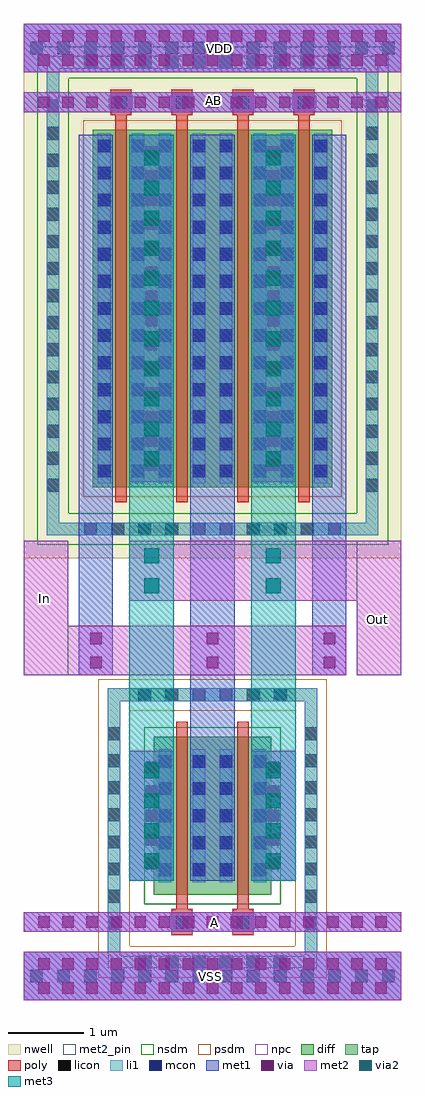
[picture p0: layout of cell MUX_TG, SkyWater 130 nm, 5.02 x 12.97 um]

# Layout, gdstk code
import gdstk
lib = gdstk.Library(unit=1e-6, precision=1e-09)
def R(c, l, rs):  # rectangles x0, y0, x1, y1
    for r in rs: c.add(gdstk.rectangle(r[:2], r[2:], *l))
def A(c, l, x, y, w, h, nx, ny, dx, dy):  # array of equal rectangles
    R(c, l, [(x+i*dx, y+j*dy, x+i*dx+w, y+j*dy+h) for i in range(nx) for j in range(ny)])
nwell = (64, 20)
diff = (65, 20)
tap = (65, 44)
poly = (66, 20)
licon = (66, 44)
li1 = (67, 20)
mcon = (67, 44)
met1 = (68, 20)
via = (68, 44)
met2_pin = (69, 16)
met2 = (69, 20)
via2 = (69, 44)
met3 = (70, 20)
nsdm = (93, 44)
psdm = (94, 20)
npc = (95, 20)

mux_tg = lib.new_cell('MUX_TG')
A(mux_tg, nwell, 5.04, 1.3, 1.36, 5.85, 4, 1, 0.81, 0)
R(mux_tg, nwell, [(4.425,0.735,8.965,7.715), (8.965,0.735,9.445,7.715)])
A(mux_tg, diff, 5.345, 1.68, 0.75, 4.75, 4, 1, 0.81, 0)
A(mux_tg, diff, 6.095, 1.68, 0.155, 4.75, 3, 1, 0.81, 0)
R(mux_tg, diff, [(6.155,-3.735,6.905,-1.635), (6.905,-3.735,6.965,-1.635), (6.965,-3.735,7.715,-1.635)])
R(mux_tg, tap, [(5.54,-4.715,5.71,-0.995), (5.71,-4.715,8.16,-4.545), (8.16,-4.715,8.33,-0.995), (5.71,-1.165,8.16,-0.995), (4.73,1.04,8.97,1.21), (4.73,1.04,4.9,7.24), (4.9,1.04,8.49,1.21), (8.97,1.04,9.14,7.24), (4.73,7.24,9.14,7.41)])
A(mux_tg, poly, 5.645, 1.48, 0.15, 5.15, 4, 1, 0.81, 0)
A(mux_tg, poly, 5.585, 6.63, 0.27, 0.33, 4, 1, 0.81, 0)
R(mux_tg, poly, [(6.395,-4.265,6.665,-3.935), (7.205,-4.265,7.475,-3.935), (6.455,-3.935,6.605,-1.435), (7.265,-3.935,7.415,-1.435)])
A(mux_tg, licon, 5.95, -4.715, 0.17, 0.17, 6, 2, 0.36, 3.55)
A(mux_tg, licon, 5.54, -4.2, 0.17, 0.17, 1, 8, 0, 0.36)
A(mux_tg, licon, 8.16, -4.2, 0.17, 0.17, 1, 8, 0, 0.36)
A(mux_tg, licon, 6.22, -3.49, 0.17, 0.17, 1, 5, 0, 0.36)
A(mux_tg, licon, 6.67, -3.49, 0.17, 0.17, 1, 5, 0, 0.36)
A(mux_tg, licon, 7.03, -3.49, 0.17, 0.17, 1, 5, 0, 0.36)
A(mux_tg, licon, 7.48, -3.49, 0.17, 0.17, 1, 5, 0, 0.36)
A(mux_tg, licon, 5.23, 1.04, 0.17, 0.17, 10, 2, 0.36, 6.2)
A(mux_tg, licon, 4.73, 1.62, 0.17, 0.17, 1, 15, 0, 0.36)
A(mux_tg, licon, 8.97, 1.62, 0.17, 0.17, 1, 15, 0, 0.36)
A(mux_tg, licon, 5.41, 1.81, 0.17, 0.17, 1, 13, 0, 0.36)
A(mux_tg, licon, 5.86, 1.81, 0.17, 0.17, 1, 13, 0, 0.36)
A(mux_tg, licon, 6.22, 1.81, 0.17, 0.17, 1, 13, 0, 0.36)
A(mux_tg, licon, 6.67, 1.81, 0.17, 0.17, 1, 13, 0, 0.36)
A(mux_tg, licon, 7.03, 1.81, 0.17, 0.17, 1, 13, 0, 0.36)
A(mux_tg, licon, 7.48, 1.81, 0.17, 0.17, 1, 13, 0, 0.36)
A(mux_tg, licon, 7.84, 1.81, 0.17, 0.17, 1, 13, 0, 0.36)
A(mux_tg, licon, 8.29, 1.81, 0.17, 0.17, 1, 13, 0, 0.36)
A(mux_tg, licon, 5.635, 6.71, 0.17, 0.17, 4, 1, 0.81, 0)
R(mux_tg, licon, [(6.445,-4.185,6.615,-4.015), (7.255,-4.185,7.425,-4.015)])
A(mux_tg, li1, 5.555, 6.71, 0.33, 0.17, 4, 1, 0.81, 0)
R(mux_tg, li1, [(4.425,-5.135,9.445,-4.495), (5.54,-4.715,5.71,-0.995), (5.71,-4.715,8.16,-4.545), (8.16,-4.715,8.33,-0.995), (6.365,-4.185,6.695,-4.015), (7.175,-4.185,7.505,-4.015), (6.22,-3.57,6.39,-1.8), (6.67,-3.57,6.84,-1.8), (7.03,-3.57,7.2,-1.8), (7.48,-3.57,7.65,-1.8), (5.71,-1.165,8.16,-0.995), (4.73,1.04,8.97,1.21), (4.73,1.04,4.9,7.24), (8.97,1.04,9.14,7.24), (5.41,1.73,5.58,6.38), (5.86,1.73,6.03,6.38), (6.22,1.73,6.39,6.38), (6.67,1.73,6.84,6.38), (7.03,1.73,7.2,6.38), (7.48,1.73,7.65,6.38), (7.84,1.73,8.01,6.38), (8.29,1.73,8.46,6.38), (4.425,7.195,9.445,7.835), (4.73,7.24,9.14,7.41)])
A(mux_tg, mcon, 4.51, -4.9, 0.17, 0.17, 14, 2, 0.36, 12.33)
A(mux_tg, mcon, 6.22, -3.49, 0.17, 0.17, 1, 5, 0, 0.36)
A(mux_tg, mcon, 6.67, -3.49, 0.17, 0.17, 1, 5, 0, 0.36)
A(mux_tg, mcon, 7.03, -3.49, 0.17, 0.17, 1, 5, 0, 0.36)
A(mux_tg, mcon, 7.48, -3.49, 0.17, 0.17, 1, 5, 0, 0.36)
A(mux_tg, mcon, 5.41, 1.81, 0.17, 0.17, 1, 13, 0, 0.36)
A(mux_tg, mcon, 5.86, 1.81, 0.17, 0.17, 1, 13, 0, 0.36)
A(mux_tg, mcon, 6.22, 1.81, 0.17, 0.17, 1, 13, 0, 0.36)
A(mux_tg, mcon, 6.67, 1.81, 0.17, 0.17, 1, 13, 0, 0.36)
A(mux_tg, mcon, 7.03, 1.81, 0.17, 0.17, 1, 13, 0, 0.36)
A(mux_tg, mcon, 7.48, 1.81, 0.17, 0.17, 1, 13, 0, 0.36)
A(mux_tg, mcon, 7.84, 1.81, 0.17, 0.17, 1, 13, 0, 0.36)
A(mux_tg, mcon, 8.29, 1.81, 0.17, 0.17, 1, 13, 0, 0.36)
A(mux_tg, mcon, 5.635, 6.71, 0.17, 0.17, 4, 1, 0.81, 0)
R(mux_tg, mcon, [(6.445,-4.185,6.615,-4.015), (7.255,-4.185,7.425,-4.015)])
A(mux_tg, met1, 6.06, 1.75, 0.13, 4.61, 3, 1, 0.81, 0)
A(mux_tg, met1, 5.535, 6.68, 0.37, 0.23, 4, 1, 0.81, 0)
R(mux_tg, met1, [(4.425,-5.135,9.445,-4.495), (4.425,-4.23,9.445,-3.97), (6.345,-4.215,6.715,-3.985), (7.155,-4.215,7.525,-3.985), (5.83,-3.55,6.42,-1.82), (6.19,-3.55,6.42,-1.82), (6.64,-3.55,6.87,-1.82), (6.87,-3.55,7,-1.82), (7,-3.55,7.23,-1.82), (7.45,-3.55,7.68,-1.82), (7.45,-3.55,8.04,-1.82), (6.64,-1.82,7.23,-0.16), (5.155,-0.82,5.61,-0.16), (6.64,-0.82,7.23,-0.16), (8.26,-0.82,8.715,-0.16), (8.26,-0.82,8.715,1.75), (5.155,-0.16,5.61,1.75), (6.64,-0.16,7.23,1.75), (5.155,1.75,5.61,6.36), (5.38,1.75,5.61,6.36), (5.83,1.75,6.42,6.36), (5.83,1.75,6.06,6.36), (6.19,1.75,6.42,6.36), (6.64,1.75,6.87,6.36), (7,1.75,7.23,6.36), (7.45,1.75,8.04,6.36), (7.45,1.75,7.68,6.36), (7.81,1.75,8.04,6.36), (8.26,1.75,8.49,6.36), (8.26,1.75,8.715,6.36), (4.425,6.665,9.445,6.925), (4.425,7.195,9.445,7.835)])
A(mux_tg, via, 4.62, -5.05, 0.15, 0.15, 15, 2, 0.32, 0.32)
A(mux_tg, via, 4.62, -4.175, 0.15, 0.15, 15, 2, 0.32, 10.895)
A(mux_tg, via, 6.05, -3.4, 0.15, 0.15, 1, 5, 0, 0.32)
A(mux_tg, via, 7.67, -3.4, 0.15, 0.15, 1, 5, 0, 0.32)
A(mux_tg, via, 6.05, 1.9, 0.15, 0.15, 1, 14, 0, 0.32)
A(mux_tg, via, 7.67, 1.9, 0.15, 0.15, 1, 14, 0, 0.32)
A(mux_tg, via, 4.62, 7.28, 0.15, 0.15, 15, 2, 0.32, 0.32)
R(mux_tg, via, [(5.31,-0.725,5.46,-0.575), (6.86,-0.725,7.01,-0.575), (8.415,-0.725,8.565,-0.575), (5.31,-0.405,5.46,-0.255), (6.86,-0.405,7.01,-0.255), (8.415,-0.405,8.565,-0.255)])
R(mux_tg, met2_pin, [(4.425,-5.135,9.445,-4.495), (4.425,-4.23,9.445,-3.97), (4.425,-0.82,5.015,0.97), (8.855,-0.82,9.445,0.97), (4.425,6.665,9.445,6.925), (4.425,7.195,9.445,7.835)])
R(mux_tg, met2, [(4.425,-5.135,9.445,-4.495), (4.425,-5.135,9.445,-4.495), (4.425,-4.23,9.445,-3.97), (5.83,-3.55,6.42,-1.82), (7.45,-3.55,8.04,-1.82), (4.425,-0.82,8.26,-0.16), (5.155,-0.82,5.61,-0.16), (6.64,-0.82,7.23,-0.16), (8.26,-0.82,8.715,-0.16), (8.855,-0.82,9.445,0.17), (4.425,-0.16,5.015,0.97), (5.83,0.17,6.42,0.97), (5.83,0.17,9.445,0.97), (7.45,0.17,8.04,0.97), (5.83,1.75,6.42,6.36), (7.45,1.75,8.04,6.36), (4.425,6.665,9.445,6.925), (4.425,7.195,9.445,7.835), (4.425,7.195,9.445,7.835)])
A(mux_tg, via2, 6.025, -3.385, 0.2, 0.2, 1, 4, 0, 0.4)
A(mux_tg, via2, 7.645, -3.385, 0.2, 0.2, 1, 4, 0, 0.4)
A(mux_tg, via2, 6.025, 1.955, 0.2, 0.2, 1, 11, 0, 0.4)
A(mux_tg, via2, 7.645, 1.955, 0.2, 0.2, 1, 11, 0, 0.4)
R(mux_tg, via2, [(6.025,0.27,6.225,0.47), (7.645,0.27,7.845,0.47), (6.025,0.67,6.225,0.87), (7.645,0.67,7.845,0.87)])
R(mux_tg, met3, [(5.83,-3.55,6.42,-1.82), (7.45,-3.55,8.04,-1.82), (5.83,-2.16,6.42,0.17), (7.45,-2.16,8.04,0.17), (5.83,0.17,6.42,0.97), (7.45,0.17,8.04,0.97), (5.83,0.97,6.42,2.09), (7.45,0.97,8.04,2.09), (5.83,1.75,6.42,6.36), (7.45,1.75,8.04,6.36)])
R(mux_tg, nsdm, [(6.03,-3.86,7.03,-1.51), (6.84,-3.86,7.84,-1.51), (4.605,0.915,9.27,1.335), (4.605,1.335,5.025,7.115), (8.85,1.335,9.27,7.115), (4.605,7.115,9.27,7.535)])
A(mux_tg, psdm, 5.22, 1.555, 1, 5, 4, 1, 0.81, 0)
R(mux_tg, psdm, [(5.415,-4.84,5.835,-0.87), (5.835,-4.84,8.035,-4.42), (8.035,-4.84,8.455,-0.87), (5.835,-1.29,8.035,-0.87)])
A(mux_tg, npc, 5.575, 6.62, 0.29, 0.35, 4, 1, 0.81, 0)
R(mux_tg, npc, [(6.385,-4.275,6.675,-3.925), (7.195,-4.275,7.485,-3.925)])
mux_tg.add(gdstk.Label('VSS', (6.915,-4.82), layer=69, texttype=5))
mux_tg.add(gdstk.Label('VDD', (7.03,7.51), layer=69, texttype=5))
mux_tg.add(gdstk.Label('In', (4.705,0.195), layer=69, texttype=5))
mux_tg.add(gdstk.Label('Out', (9.13,-0.08), layer=69, texttype=5))
mux_tg.add(gdstk.Label('A', (6.96,-4.11), layer=69, texttype=5))
mux_tg.add(gdstk.Label('AB', (6.945,6.82), layer=69, texttype=5))

lib.write_gds('MUX_TG.gds')
